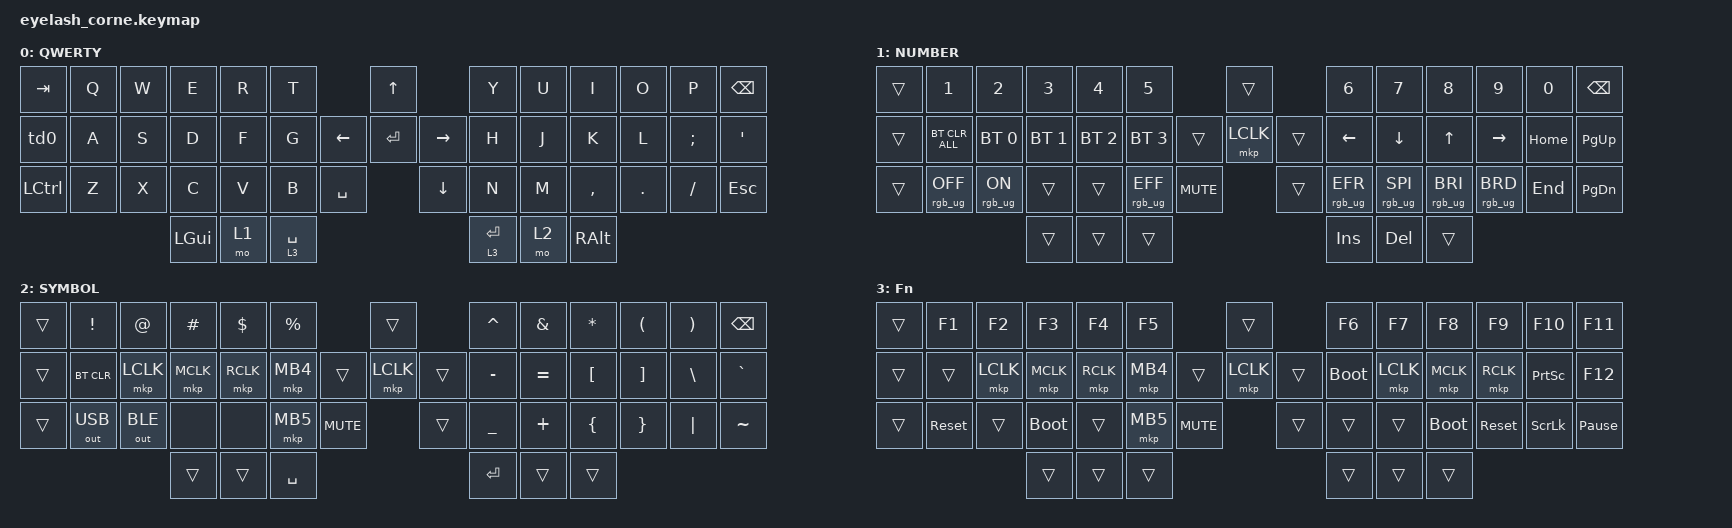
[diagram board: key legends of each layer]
#include <behaviors.dtsi>
#include <dt-bindings/zmk/bt.h>
#include <dt-bindings/zmk/keys.h>
#include <dt-bindings/zmk/mouse.h>
#include <dt-bindings/zmk/outputs.h>
#include <dt-bindings/zmk/rgb.h>

/ {
    behaviors {
        td0: td0 {
            compatible = "zmk,behavior-tap-dance";
            #binding-cells = <0>;
            bindings = <&kp LEFT_SHIFT>, <&kp CAPS>;
        };
    };

    rgb_encoder: rgb_encoder {
        compatible = "zmk,behavior-sensor-rotate";
        #sensor-binding-cells = <0>;
        bindings = <&rgb_ug RGB_BRI>, <&rgb_ug RGB_BRD>;
    };

    // ADD ONLY LEFT ENCODER SENSOR DEFINITION
    left_encoder: encoder_left {
        compatible = "alps,ec11";
        a-gpios = <&pro_micro 21 (GPIO_ACTIVE_HIGH | GPIO_PULL_UP)>;
        b-gpios = <&pro_micro 20 (GPIO_ACTIVE_HIGH | GPIO_PULL_UP)>;
        resolution = <4>;
    };

    sensors {
        compatible = "zmk,keymap-sensors";
        sensors = <&left_encoder>; // ONLY LEFT ENCODER
    };

    keymap {
        compatible = "zmk,keymap";

        default_layer {
            display-name = "QWERTY";

            bindings = <
&kp TAB    &kp Q  &kp W      &kp E     &kp R  &kp T                              &kp UP                &kp Y        &kp U  &kp I      &kp O    &kp P     &kp BSPC
&td0       &kp A  &kp S      &kp D     &kp F  &kp G                    &kp LEFT  &kp ENTER  &kp RIGHT  &kp H        &kp J  &kp K      &kp L    &kp SEMI  &kp SQT
&kp LCTRL  &kp Z  &kp X      &kp C     &kp V  &kp B       &kp SPACE              &kp DOWN              &kp N        &kp M  &kp COMMA  &kp DOT  &kp FSLH  &kp ESC
                             &kp LGUI  &mo 1  &lt 3 SPACE                                              &lt 3 ENTER  &mo 2  &kp RALT
            >;
        };

        lower_layer {
            display-name = "NUMBER";
            bindings = <
&trans  &kp N1           &kp N2          &kp N3        &kp N4        &kp N5                                &trans            &kp N6           &kp N7           &kp N8           &kp N9           &kp N0    &kp BSPC
&trans  &bt BT_CLR_ALL   &bt BT_SEL 0    &bt BT_SEL 1  &bt BT_SEL 2  &bt BT_SEL 3                  &trans  &mkp LCLK  &trans &kp LEFT         &kp DOWN         &kp UP           &kp RIGHT        &kp HOME  &kp PG_UP
&trans  &rgb_ug RGB_OFF  &rgb_ug RGB_ON  &trans        &trans        &rgb_ug RGB_EFF &kp C_MUTE            &trans            &rgb_ug RGB_EFR  &rgb_ug RGB_SPI  &rgb_ug RGB_BRI  &rgb_ug RGB_BRD  &kp END   &kp PG_DN
                                         &trans        &trans        &trans                                                  &kp INS          &kp DEL          &trans
            >;
        };

        raise_layer {
            display-name = "SYMBOL";
            bindings = <
&trans  &kp EXCL      &kp AT        &kp HASH   &kp DLLR   &kp PRCNT                       &trans            &kp CARET  &kp AMPS   &kp ASTRK  &kp LPAR  &kp RPAR  &kp BSPC
&trans  &bt BT_CLR    &mkp LCLK     &mkp MCLK  &mkp RCLK  &mkp MB4                &trans  &mkp LCLK  &trans &kp MINUS  &kp EQUAL  &kp LBKT   &kp RBKT  &kp BSLH  &kp GRAVE
&trans  &out OUT_USB  &out OUT_BLE  &none      &none      &mkp MB5  &kp C_MUTE            &trans            &kp UNDER  &kp PLUS   &kp LBRC   &kp RBRC  &kp PIPE  &kp TILDE
                                    &trans     &trans     &kp SPACE                                         &kp RET    &trans     &trans
            >;
        };

        layer_3 {
            display-name = "Fn";
            bindings = <
&trans  &kp F1      &kp F2      &kp F3       &kp F4     &kp F5                         &trans            &kp F6       &kp F7     &kp F8       &kp F9      &kp F10          &kp F11
&trans  &trans      &mkp LCLK   &mkp MCLK    &mkp RCLK  &mkp MB4               &trans  &mkp LCLK  &trans &bootloader  &mkp LCLK  &mkp MCLK    &mkp RCLK   &kp PRINTSCREEN  &kp F12
&trans  &sys_reset  &trans      &bootloader  &trans     &mkp MB5 &kp C_MUTE            &trans            &trans       &trans     &bootloader  &sys_reset  &kp SCROLLLOCK   &kp PAUSE_BREAK
                                &trans      &trans      &trans                                           &trans       &trans     &trans
            >;
        };
    };
};

// ONLY LEFT ENCODER NODE AT THE END
&encoder_left {
    status = "okay";
    resolution = <4>;
    sensors = <&left_encoder>;
    bindings = <&kp C_VOL_DOWN>, <&kp C_VOL_UP>;
};
